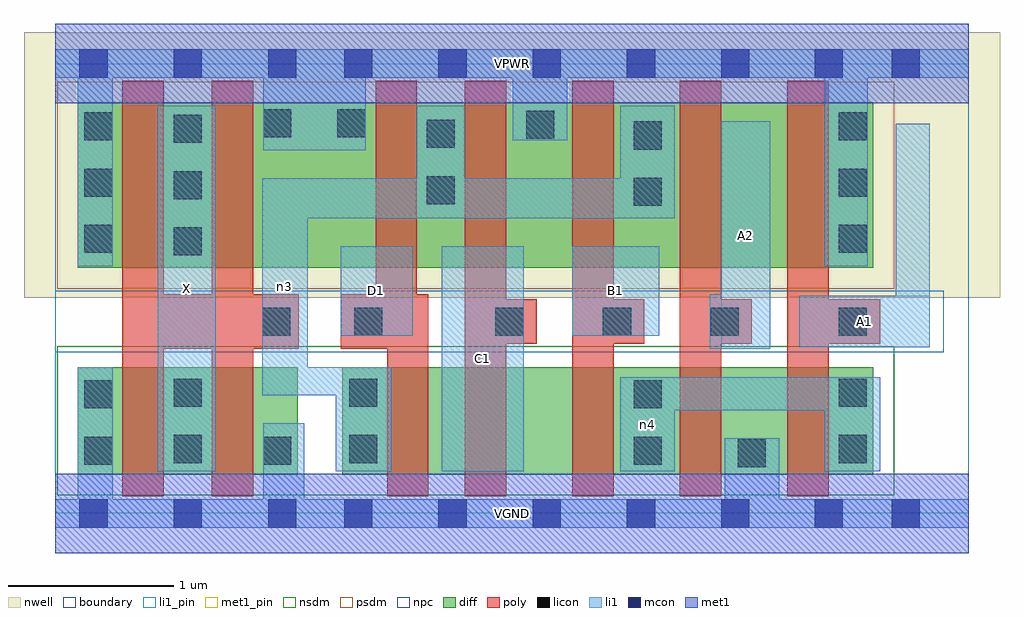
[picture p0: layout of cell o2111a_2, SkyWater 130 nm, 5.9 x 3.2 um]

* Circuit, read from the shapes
.subckt o2111a_2 A1 A2 B1 C1 D1 VGND VPWR X n3 n4
XM1 X n3 VGND VSUBS sky130_fd_pr__nfet_01v8 w=0.65 l=0.25 m=2
XM2 n1 D1 n3 VSUBS sky130_fd_pr__nfet_01v8 w=0.65 l=0.25
XM3 n2 C1 n1 VSUBS sky130_fd_pr__nfet_01v8 w=0.65 l=0.25
XM4 n4 B1 n2 VSUBS sky130_fd_pr__nfet_01v8 w=0.65 l=0.25
XM5 VGND A2 n4 VSUBS sky130_fd_pr__nfet_01v8 w=0.65 l=0.25
XM6 n4 A1 VGND VSUBS sky130_fd_pr__nfet_01v8 w=0.65 l=0.25
XM7 X n3 VPWR n5 sky130_fd_pr__pfet_01v8 w=1 l=0.25 m=2
XM8 n3 D1 VPWR n5 sky130_fd_pr__pfet_01v8 w=1 l=0.25
XM9 VPWR C1 n3 n5 sky130_fd_pr__pfet_01v8 w=1 l=0.25
XM10 n3 B1 VPWR n5 sky130_fd_pr__pfet_01v8 w=1 l=0.25
XM11 n6 A2 n3 n5 sky130_fd_pr__pfet_01v8 w=1 l=0.25
XM12 VPWR A1 n6 n5 sky130_fd_pr__pfet_01v8 w=1 l=0.25
.ends

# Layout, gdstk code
import gdstk
lib = gdstk.Library(unit=1e-6, precision=1e-09)
def R(c, l, rs):  # rectangles x0, y0, x1, y1
    for r in rs: c.add(gdstk.rectangle(r[:2], r[2:], *l))
def A(c, l, x, y, w, h, nx, ny, dx, dy):  # array of equal rectangles
    R(c, l, [(x+i*dx, y+j*dy, x+i*dx+w, y+j*dy+h) for i in range(nx) for j in range(ny)])
nwell = (64, 20)
diff = (65, 20)
poly = (66, 20)
licon = (66, 44)
li1_pin = (67, 16)
li1 = (67, 20)
mcon = (67, 44)
met1_pin = (68, 16)
met1 = (68, 20)
nsdm = (93, 44)
psdm = (94, 20)
npc = (95, 20)
boundary = (235, 4)

o2111a_2 = lib.new_cell('o2111a_2')
R(o2111a_2, nwell, [(-0.19,1.305,5.71,2.91), (0,1.305,5.52,2.91)])
R(o2111a_2, diff, [(0.135,0.235,1.465,0.885), (1.735,0.235,4.945,0.885), (0.135,1.485,4.945,2.485)])
A(o2111a_2, poly, 2.475, 0.105, 0.25, 2.51, 4, 1, 0.65, 0)
A(o2111a_2, poly, 2.475, 1.025, 0.435, 0.27, 3, 1, 0.65, 0)
R(o2111a_2, poly, [(0.405,0.105,0.655,2.615), (0.945,0.105,1.195,2.615), (2.005,0.105,2.255,1.325), (0.405,0.995,1.47,1.325), (1.725,0.995,2.255,1.325), (1.935,0.995,2.185,2.615), (4.425,1.025,4.985,1.295)])
A(o2111a_2, licon, 2.66, 1.075, 0.17, 0.17, 3, 1, 0.65, 0)
A(o2111a_2, licon, 0.715, 1.56, 0.17, 0.17, 1, 3, 0, 0.34)
A(o2111a_2, licon, 0.175, 1.575, 0.17, 0.17, 1, 3, 0, 0.34)
A(o2111a_2, licon, 4.735, 1.575, 0.17, 0.17, 1, 3, 0, 0.34)
R(o2111a_2, licon, [(4.125,0.28,4.295,0.45), (0.175,0.295,0.345,0.465), (1.255,0.295,1.425,0.465), (3.495,0.295,3.665,0.465), (0.715,0.305,0.885,0.475), (1.775,0.305,1.945,0.475), (4.735,0.305,4.905,0.475), (0.175,0.635,0.345,0.805), (3.495,0.635,3.665,0.805), (0.715,0.645,0.885,0.815), (1.775,0.645,1.945,0.815), (4.735,0.645,4.905,0.815), (1.25,1.075,1.42,1.245), (1.805,1.075,1.975,1.245), (4.735,1.075,4.905,1.245), (3.495,1.86,3.665,2.03), (2.245,1.87,2.415,2.04), (3.495,2.2,3.665,2.37), (2.245,2.21,2.415,2.38), (2.845,2.265,3.015,2.435), (1.255,2.275,1.425,2.445), (1.705,2.275,1.875,2.445)])
R(o2111a_2, li1_pin, [(0.62,0.255,0.97,2.465), (2.335,0.255,2.83,1.615), (4.025,0.995,4.32,2.37), (4.495,1.005,5.285,1.315), (1.725,1.075,2.16,1.615), (3.125,1.075,3.65,1.615)])
R(o2111a_2, li1, [(0,-0.085,5.52,0.085), (0.135,-0.085,0.345,0.885), (1.255,-0.085,1.505,0.545), (4.045,-0.085,4.375,0.455), (0.62,0.255,0.97,2.465), (1.695,0.255,2.03,0.885), (2.335,0.255,2.83,1.615), (3.415,0.255,3.745,0.825), (4.65,0.255,4.985,0.825), (3.415,0.625,4.985,0.825), (1.25,0.715,1.525,2.025), (1.25,0.715,2.03,0.885), (3.955,0.995,4.32,1.325), (4.025,0.995,4.32,2.37), (4.495,1.005,5.285,1.315), (5.08,1.005,5.285,2.355), (1.725,1.075,2.16,1.615), (3.125,1.075,3.65,1.615), (0.135,1.495,0.345,2.805), (4.65,1.495,4.91,2.805), (1.25,1.785,3.745,2.025), (2.185,1.785,2.475,2.465), (3.415,1.785,3.745,2.465), (1.255,2.195,1.875,2.805), (2.765,2.255,3.095,2.805), (0,2.635,5.52,2.805)])
A(o2111a_2, mcon, 0.145, -0.085, 0.17, 0.17, 3, 2, 0.57, 2.72)
A(o2111a_2, mcon, 1.745, -0.085, 0.17, 0.17, 5, 2, 0.57, 2.72)
R(o2111a_2, mcon, [(4.59,-0.085,4.76,0.085), (5.055,-0.085,5.225,0.085), (4.59,2.635,4.76,2.805), (5.055,2.635,5.225,2.805)])
R(o2111a_2, met1_pin, [(0,-0.24,5.52,0.24), (0,2.48,5.52,2.96)])
R(o2111a_2, met1, [(0,-0.24,5.52,0.24), (0,2.48,5.52,2.96)])
R(o2111a_2, nsdm, [(0.01,0.11,5.07,1.01)])
R(o2111a_2, psdm, [(0.01,1.36,5.07,2.61)])
R(o2111a_2, npc, [(0,0.975,5.37,1.345)])
R(o2111a_2, boundary, [(0,0,5.52,2.72)])
o2111a_2.add(gdstk.Label('A1', (4.89,1.16), layer=67, texttype=5))
o2111a_2.add(gdstk.Label('A2', (4.172,1.682), layer=67, texttype=5))
o2111a_2.add(gdstk.Label('B1', (3.387,1.345), layer=67, texttype=5))
o2111a_2.add(gdstk.Label('C1', (2.582,0.935), layer=67, texttype=5))
o2111a_2.add(gdstk.Label('D1', (1.942,1.345), layer=67, texttype=5))
o2111a_2.add(gdstk.Label('X', (0.795,1.36), layer=67, texttype=5))
o2111a_2.add(gdstk.Label('n4', (3.58,0.54), layer=67, texttype=5))
o2111a_2.add(gdstk.Label('n3', (1.387,1.37), layer=67, texttype=5))
o2111a_2.add(gdstk.Label('VPWR', (2.76,2.72), layer=68, texttype=5))
o2111a_2.add(gdstk.Label('VGND', (2.76,0), layer=68, texttype=5))
o2111a_2.add(gdstk.Label('A1', (4.89,1.16), layer=67, texttype=16))
o2111a_2.add(gdstk.Label('A2', (4.172,1.682), layer=67, texttype=16))
o2111a_2.add(gdstk.Label('B1', (3.387,1.345), layer=67, texttype=16))
o2111a_2.add(gdstk.Label('C1', (2.582,0.935), layer=67, texttype=16))
o2111a_2.add(gdstk.Label('D1', (1.942,1.345), layer=67, texttype=16))
o2111a_2.add(gdstk.Label('X', (0.795,1.36), layer=67, texttype=16))
o2111a_2.add(gdstk.Label('VPWR', (2.76,2.72), layer=68, texttype=16))
o2111a_2.add(gdstk.Label('VGND', (2.76,0), layer=68, texttype=16))

lib.write_gds('o2111a_2.gds')
